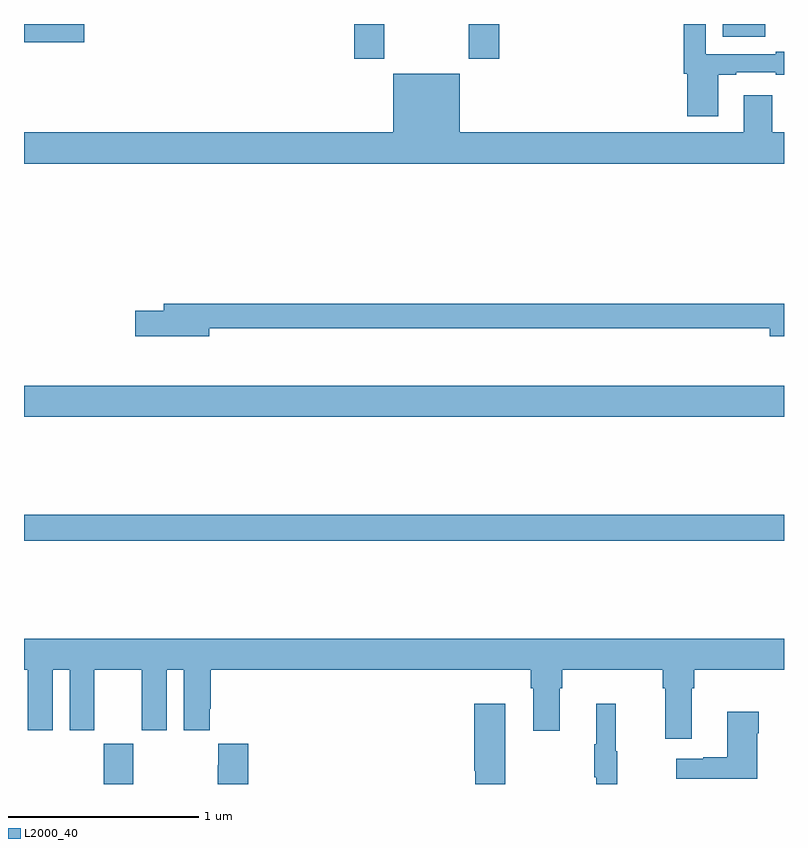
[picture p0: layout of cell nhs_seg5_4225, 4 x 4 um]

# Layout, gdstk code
import gdstk
lib = gdstk.Library(unit=1e-6, precision=1e-09)
def R(c, l, rs):  # rectangles x0, y0, x1, y1
    for r in rs: c.add(gdstk.rectangle(r[:2], r[2:], *l))
def P(c, l, *ps):  # polygons
    for p in ps: c.add(gdstk.Polygon(p, *l))
L2000_40 = (2000, 40)

nhs_seg5_4225 = lib.new_cell('nhs_seg5_4225')
R(nhs_seg5_4225, L2000_40, [(359.419,882.799,359.574,883.012), (359,884.08,363,884.216), (359,884.732,363,884.896), (360.737,886.617,360.897,886.799), (361.342,886.617,361.502,886.799), (359,886.702,359.317,886.799), (362.678,886.733,362.902,886.799)])
P(nhs_seg5_4225, L2000_40, [(362.653,886.533),(362.749,886.533),(362.749,886.545),(362.957,886.545),(362.957,886.533),(363,886.533),(363,886.654),(362.957,886.654),(362.957,886.641),(362.589,886.641),(362.589,886.799),(362.473,886.799),(362.473,886.538),(362.492,886.538),(362.492,886.314),(362.653,886.314)],
  [(363,886.228),(362.937,886.228),(362.937,886.423),(362.789,886.423),(362.789,886.228),(361.294,886.228),(361.294,886.537),(360.944,886.537),(360.944,886.228),(359,886.228),(359,886.064),(363,886.064)],
  [(359.974,885.198),(362.924,885.198),(362.924,885.155),(363,885.155),(363,885.326),(359.735,885.326),(359.735,885.29),(359.586,885.29),(359.586,885.155),(359.974,885.155)],
  [(362.515,883.304),(362.528,883.304),(362.528,883.4),(363,883.4),(363,883.564),(359,883.564),(359,883.4),(359.021,883.4),(359.021,883.083),(359.152,883.083),(359.152,883.4),(359.24,883.4),(359.24,883.083),(359.371,883.083),(359.371,883.4),(359.621,883.4),(359.621,883.083),(359.752,883.083),(359.752,883.4),(359.84,883.4),(359.84,883.083),(359.977,883.083),(359.977,883.195),(359.984,883.195),(359.984,883.4),(361.667,883.4),(361.667,883.304),(361.679,883.304),(361.679,883.08),(361.819,883.08),(361.819,883.304),(361.832,883.304),(361.832,883.4),(362.363,883.4),(362.363,883.304),(362.375,883.304),(362.375,883.038),(362.515,883.038)],
  [(361.534,883.222),(361.37,883.222),(361.37,882.87),(361.376,882.87),(361.376,882.799),(361.534,882.799)],
  [(362.122,882.972),(362.114,882.972),(362.114,883.222),(362.012,883.222),(362.012,883.009),(362.001,883.009),(362.001,882.835),(362.012,882.835),(362.012,882.799),(362.122,882.799)],
  [(362.86,883.067),(362.868,883.067),(362.868,883.18),(362.702,883.18),(362.702,882.941),(362.576,882.941),(362.576,882.931),(362.433,882.931),(362.433,882.827),(362.86,882.827)],
  [(360.179,883.012),(360.023,883.012),(360.023,882.899),(360.019,882.899),(360.019,882.799),(360.179,882.799)])

lib.write_gds('nhs_seg5_4225.gds')
